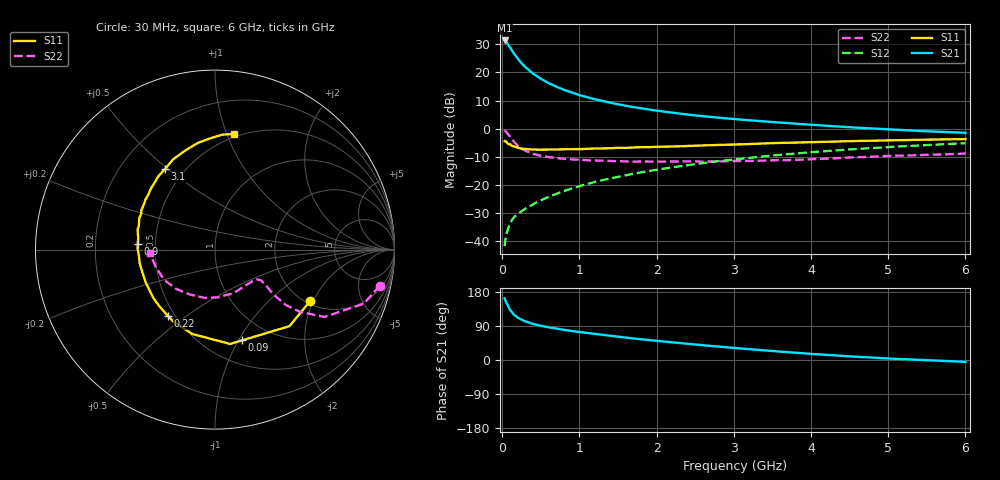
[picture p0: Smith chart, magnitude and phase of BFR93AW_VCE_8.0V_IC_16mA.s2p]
! Infineon Technologies  Discrete & RF Semiconductors
! BFR93AW
! VCE =  8.0 V,  IC =  16 mA
! Common Emitter S-Parameters:  Nov 2015
# GHz  S  MA  R  50
!  f  S11  S21  S12  S22
! GHz  MAG  ANG  MAG  ANG  MAG  ANG  MAG  ANG
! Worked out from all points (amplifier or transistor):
!   206 points, 30 MHz to 6 GHz, reference 50 ohm
!   highest |S21| = 31.3 dB at 30 MHz (marker M1)
!   |S21| within 3 dB of that: start of sweep to 112.6 MHz
!   unconditionally stable (mu >= 1): 615.1 MHz to 2.172 GHz
!   at 200 MHz: K = 0.62, MSG = 27.6 dB, |S12| = -30.3 dB
!   at 1.56 GHz: K = 1.05, MAG = 11.2 dB, |S12| = -16.7 dB
!   at 6 GHz: K = 0.88, MSG = 1.9 dB, |S12| = -5.2 dB
!   S11 on the Smith chart (normalised r, x): 30 MHz: 2.08, -1.89; 90 MHz: 0.74, -1.04; 220 MHz: 0.46, -0.43; 900 MHz: 0.40, +0.03; 3.1 GHz: 0.39, +0.49; 6 GHz: 0.47, +1.06
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0.03  0.6019 -28.7  36.87 162.7  0.0082 74.5  0.9401 -12.3
0.05  0.5952 -45.8  35.04 151.6  0.0131 71.2  0.8829 -19.9
0.09  0.5278 -73.4  28.9 136.7  0.0194 62.7  0.7465 -28.9
0.1  0.5324 -80.9  27.75 132.0  0.021 61.4  0.7159 -31.6
0.15  0.4868 -105.2  21.63 119.6  0.0266 58.0  0.5847 -36.3
0.2  0.4623 -120.5  17.46 111.6  0.0306 57.6  0.5009 -38.0
0.22  0.4525 -125.4  16.24 109.5  0.032 58.0  0.4774 -37.9
0.26  0.442 -134.8  14.02 105.0  0.0349 58.8  0.4348 -37.7
0.3  0.4369 -141.7  12.32 101.5  0.0381 59.8  0.4055 -37.3
0.4  0.4274 -154.5  9.454 95.0  0.0454 62.7  0.3569 -35.5
0.5  0.4243 -163.5  7.682 90.1  0.0536 64.4  0.3283 -34.4
0.6  0.4265 -169.7  6.445 86.2  0.0614 66.2  0.3126 -33.8
0.7  0.4254 -175.5  5.576 82.7  0.0697 67.6  0.3016 -34.1
0.9  0.4323 175.7  4.378 76.6  0.0865 69.2  0.2858 -35.5
1.04  0.4349 170.3  3.819 72.8  0.099 69.3  0.2784 -37.5
1.2  0.4454 165.2  3.331 68.6  0.1132 69.4  0.2725 -40.3
1.5  0.4572 157.2  2.705 61.5  0.1398 69.0  0.2657 -46.5
2.02  0.4773 144.1  2.073 50.1  0.1887 66.8  0.261 -59.6
3.1  0.5276 122.0  1.446 30.3  0.2934 58.6  0.2666 -88.7
4.1  0.5808 105.1  1.149 14.9  0.3908 48.8  0.2892 -122.7
5.1  0.6234 91.4  0.959 3.1  0.48 37.8  0.3308 -152.3
6  0.6533 80.6  0.846 -4.9  0.5521 28.0  0.3623 -176.6
